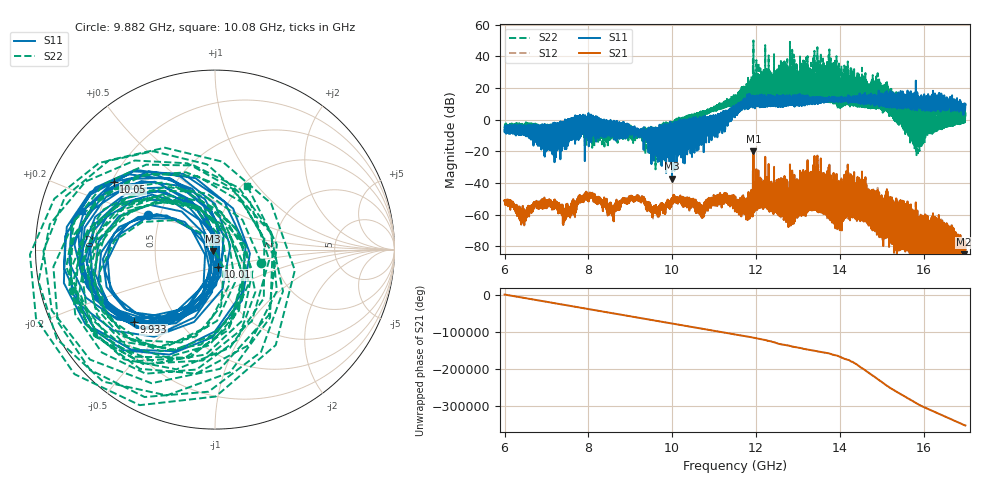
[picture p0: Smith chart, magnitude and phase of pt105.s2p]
#  HZ  S  RI  R  50.00
! Rohde & Schwarz Vector Network Analyzer
! Rohde-Schwarz,ZNA67-2Port,1332450062101215,3.01
! Created: UTC 10/19/2026, 2:05:26 PM
! freq[Hz]  re:S11  im:S11  re:S21  im:S21  re:S12  im:S12  re:S22  im:S22
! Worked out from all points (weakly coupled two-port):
!   11001 points, 6 GHz to 17 GHz, reference 50 ohm
!   highest |S21| = -20.06 dB at 11.94 GHz (marker M1); lowest = -95.1 dB at 16.97 GHz (marker M2)
!   lowest |S11| = -37.3 dB at 9.996 GHz (marker M3), VSWR 1.03, Z = 49 - j0.886 ohm
!   |S11| at or under -10 dB: 9.315507 GHz to 9.320475 GHz (4.968 MHz wide, 0.0533 % of centre); 9.329988 GHz to 9.334476 GHz (4.488 MHz wide, 0.0481 % of centre); 9.384767 GHz to 9.39037 GHz (5.603 MHz wide, 0.0597 % of centre) (the widest 3 of 283)
!   |S22| runs from -31.4 to 50.0 dB; largest |S21 - S12| = 0.0064
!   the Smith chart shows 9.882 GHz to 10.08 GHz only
!   S11 on the Smith chart (normalised r, x): 9.882 GHz: 0.43, +0.20; 9.933 GHz: 0.28, -0.36; 10.01 GHz: 1.02, -0.20; 10.05 GHz: 0.21, +0.29; 10.08 GHz: 0.13, +0.14
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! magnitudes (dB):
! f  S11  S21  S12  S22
! 6 GHz  -6.2  -51.2  -51.2  -4.5
! 6.467 GHz  -9.1  -61.2  -61.1  -5.0
! 7.048 GHz  -6.8  -53.1  -53.0  -3.9
! 7.428 GHz  -2.8  -61.6  -61.5  -4.6
! 7.834 GHz  -9.2  -51.4  -51.4  -8.8
! 8.56 GHz  -3.7  -58.8  -58.7  -9.1
! 9.177 GHz  -10.3  -48.3  -48.2  -6.9
! 9.667 GHz  -8.6  -59.0  -59.9  -5.3
! 9.882 GHz  -7.5  -52.0  -51.9  -11.5
! 9.933 GHz  -4.4  -54.2  -54.2  -5.1
! 9.996 GHz  -37.3  -51.4  -51.7  -2.5
! 10.01 GHz  -20.1  -50.0  -50.3  -2.1
! 10.05 GHz  -3.4  -47.8  -48.0  -9.9
! 10.08 GHz  -2.3  -50.7  -50.8  -8.0
! 10.71 GHz  -12.8  -57.4  -57.7  4.7
! 11.5 GHz  3.3  -54.5  -54.2  10.6
! 11.94 GHz  8.8  -20.1  -20.4  50.0
! 12.81 GHz  12.2  -63.7  -63.5  15.8
! 13.33 GHz  11.2  -52.1  -52.5  16.6
! 15.17 GHz  10.5  -70.7  -70.9  5.4
! 16.97 GHz  7.5  -95.1  -93.3  -1.7
! 17 GHz  9.4  -82.0  -82.7  2.0
